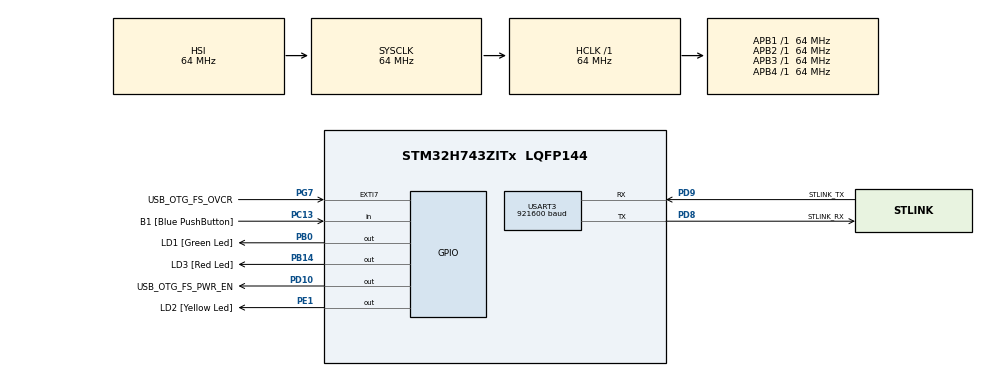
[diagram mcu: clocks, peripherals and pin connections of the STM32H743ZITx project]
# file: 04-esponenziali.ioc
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Mcu.Family=STM32H7
Mcu.Name=STM32H743ZITx
Mcu.Package=LQFP144
NVIC.PriorityGroup=NVIC_PRIORITYGROUP_4
NVIC.TIM6_DAC_IRQn=true\:0\:0\:false\:false\:true\:true\:true\:true
NVIC.USART3_IRQn=true\:0\:0\:false\:false\:true\:true\:true\:true
PB0.GPIO_Label=LD1 [Green Led]
PB0.Signal=GPIO_Output
PB14.GPIO_Label=LD3 [Red Led]
PB14.Signal=GPIO_Output
PC13.GPIO_Label=B1 [Blue PushButton]
PC13.Signal=GPIO_Input
PC14-OSC32_IN\ (OSC32_IN).Mode=LSE-External-Oscillator
PC14-OSC32_IN\ (OSC32_IN).Signal=RCC_OSC32_IN
PC15-OSC32_OUT\ (OSC32_OUT).Mode=LSE-External-Oscillator
PC15-OSC32_OUT\ (OSC32_OUT).Signal=RCC_OSC32_OUT
PD10.GPIO_Label=USB_OTG_FS_PWR_EN
PD10.Signal=GPIO_Output
PD8.GPIO_Label=STLINK_RX
PD8.Mode=Asynchronous
PD8.Signal=USART3_TX
PD9.GPIO_Label=STLINK_TX
PD9.Mode=Asynchronous
PD9.Signal=USART3_RX
PE1.GPIO_Label=LD2 [Yellow Led]
PE1.Signal=GPIO_Output
PG7.GPIO_Label=USB_OTG_FS_OVCR
PG7.Signal=GPXTI7
PH0-OSC_IN\ (PH0).Mode=HSE-External-Clock-Source
PH0-OSC_IN\ (PH0).Signal=RCC_OSC_IN
ProjectManager.HeapSize=0x200
ProjectManager.StackSize=0x400
ProjectManager.TargetToolchain=STM32CubeIDE
RCC.ADCFreq_Value=16125000
RCC.APB1Freq_Value=64000000
RCC.APB2Freq_Value=64000000
RCC.APB3Freq_Value=64000000
RCC.APB4Freq_Value=64000000
RCC.CortexFreq_Value=64000000
RCC.DIVM1=1
RCC.DIVN1=24
RCC.DIVQ1=4
RCC.HCLKFreq_Value=64000000
RCC.HSE_VALUE=8000000
RCC.PLLFRACN=0
RCC.PLLSourceVirtual=RCC_PLLSOURCE_HSE
RCC.PWR_Regulator_Voltage_Scale=PWR_REGULATOR_VOLTAGE_SCALE2
RCC.SYSCLKFreq_VALUE=64000000
RCC.USBFreq_Value=48000000
USART3.BaudRate=921600
USART3.VirtualMode-Asynchronous=VM_ASYNC
VP_MEMORYMAP_VS_MEMORYMAP.Mode=CurAppReg
VP_TIM6_VS_ClockSourceINT.Mode=Enable_Timer
board=NUCLEO-H743ZI2

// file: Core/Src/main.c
/* USER CODE BEGIN Header */
/**
 ******************************************************************************
 * @file           : main.c
 * @brief          : Main program body
 ******************************************************************************
 * @attention
 *
 * Copyright (c) 2024 STMicroelectronics.
 * All rights reserved.
 *
 * This software is licensed under terms that can be found in the LICENSE file
 * in the root directory of this software component.
 * If no LICENSE file comes with this software, it is provided AS-IS.
 *
 ******************************************************************************
 */
/* USER CODE END Header */
#include "main.h"

/* USER CODE BEGIN Includes */
#include "lz_serial.h"
#include "lz_uart.h"
/* USER CODE END Includes */

/* USER CODE BEGIN PD */
#define MAX_NUM_ELEMENTS   1024
/* USER CODE END PD */

TIM_HandleTypeDef htim6;

UART_HandleTypeDef huart3;

void SystemClock_Config(void);
static void MX_GPIO_Init(void);
static void MX_USART3_UART_Init(void);
static void MX_TIM6_Init(void);

/* USER CODE BEGIN 0 */
static enum {
	LZ_IDLE, LZ_RNG, LZ_RUN
} gState = LZ_IDLE;

uint8_t __lz_serial_new_character_read(char c) {
	if (gState != LZ_IDLE)
		return 0;

	switch (c) {
	case 'r':
		gState = LZ_RUN;
		return 1;
	case 's':
		gState = LZ_RNG;
		return 1;
	}

	return 0;
}

void __lz_serial_error_tx_buffer_full(void) {
	GPIOE->BSRR = GPIO_BSRR_BS1;
}

void __lz_serial_error_rx_buffer_full(void) {
	GPIOB->BSRR = GPIO_BSRR_BS14;

	Error_Handler();
}
/* USER CODE END 0 */

int main(void)
{

  /* MCU Configuration--------------------------------------------------------*/

  /* Reset of all peripherals, Initializes the Flash interface and the Systick. */
  HAL_Init();

  /* Configure the system clock */
  SystemClock_Config();

  /* Initialize all configured peripherals */
  MX_GPIO_Init();
  MX_USART3_UART_Init();
  MX_TIM6_Init();
  /* USER CODE BEGIN 2 */
	lz_uart_setup();

	uint16_t exp1[MAX_NUM_ELEMENTS];
	uint16_t exp2[MAX_NUM_ELEMENTS];
	uint16_t res[MAX_NUM_ELEMENTS];

	uint32_t numOfElements = 0;
	uint32_t i = 0;
	uint16_t exp1_dt = 0;
	uint16_t exp2_dt = 0;
  /* USER CODE END 2 */

  /* Infinite loop */
	while (1) {

    /* USER CODE BEGIN 3 */

		// Macchina a stati solo per scopo educativo
		switch (gState)
		{
		case LZ_RNG:
			lz_serial_read(&numOfElements, sizeof(numOfElements));

			{
				float tau1, tau2;
				lz_serial_read(&tau1, sizeof(tau1));
				lz_serial_read(&tau2, sizeof(tau2));
				exp1_dt = (uint16_t)((exp(-1.0/tau1))*(1<<10));
				exp2_dt = (uint16_t)((exp(-1.0/tau2))*(1<<10));
			}

			lz_serial_read(exp1, sizeof(exp1[0]));
			lz_serial_read(exp2, sizeof(exp2[0]));

			i = 0;
			if (numOfElements > MAX_NUM_ELEMENTS)
				numOfElements = MAX_NUM_ELEMENTS;

			gState = LZ_IDLE;
			break;

		case LZ_RUN:
			if (i >= numOfElements)
			{
				i = 0;
				gState = LZ_IDLE;
				break;
			}

			if (i > 0)
			{
				exp1[i] = (uint16_t) (((uint32_t) exp1[i - 1] * (uint32_t) exp1_dt ) >> 10);
				exp2[i] = (uint16_t) (((uint32_t) exp2[i - 1] * (uint32_t) exp2_dt ) >> 10);
			}

			res[i] = exp1[i] - exp2[i];

			lz_serial_send_binary(res + i, sizeof(res[0]));
			i++;

			break;

		default:
		}
	}
  /* USER CODE END 3 */
}

void SystemClock_Config(void)
{
  RCC_OscInitTypeDef RCC_OscInitStruct = {0};
  RCC_ClkInitTypeDef RCC_ClkInitStruct = {0};

  /** Supply configuration update enable
  */
  HAL_PWREx_ConfigSupply(PWR_LDO_SUPPLY);

  /** Configure the main internal regulator output voltage
  */
  __HAL_PWR_VOLTAGESCALING_CONFIG(PWR_REGULATOR_VOLTAGE_SCALE2);

  while(!__HAL_PWR_GET_FLAG(PWR_FLAG_VOSRDY)) {}

  /** Initializes the RCC Oscillators according to the specified parameters
  * in the RCC_OscInitTypeDef structure.
  */
  RCC_OscInitStruct.OscillatorType = RCC_OSCILLATORTYPE_HSI;
  RCC_OscInitStruct.HSIState = RCC_HSI_DIV1;
  RCC_OscInitStruct.HSICalibrationValue = RCC_HSICALIBRATION_DEFAULT;
  RCC_OscInitStruct.PLL.PLLState = RCC_PLL_NONE;
  if (HAL_RCC_OscConfig(&RCC_OscInitStruct) != HAL_OK)
  {
    Error_Handler();
  }

  /** Initializes the CPU, AHB and APB buses clocks
  */
  RCC_ClkInitStruct.ClockType = RCC_CLOCKTYPE_HCLK|RCC_CLOCKTYPE_SYSCLK
                              |RCC_CLOCKTYPE_PCLK1|RCC_CLOCKTYPE_PCLK2
                              |RCC_CLOCKTYPE_D3PCLK1|RCC_CLOCKTYPE_D1PCLK1;
  RCC_ClkInitStruct.SYSCLKSource = RCC_SYSCLKSOURCE_HSI;
  RCC_ClkInitStruct.SYSCLKDivider = RCC_SYSCLK_DIV1;
  RCC_ClkInitStruct.AHBCLKDivider = RCC_HCLK_DIV1;
  RCC_ClkInitStruct.APB3CLKDivider = RCC_APB3_DIV1;
  RCC_ClkInitStruct.APB1CLKDivider = RCC_APB1_DIV1;
  RCC_ClkInitStruct.APB2CLKDivider = RCC_APB2_DIV1;
  RCC_ClkInitStruct.APB4CLKDivider = RCC_APB4_DIV1;

  if (HAL_RCC_ClockConfig(&RCC_ClkInitStruct, FLASH_LATENCY_1) != HAL_OK)
  {
    Error_Handler();
  }
}

static void MX_TIM6_Init(void)
{

  TIM_MasterConfigTypeDef sMasterConfig = {0};

  htim6.Instance = TIM6;
  htim6.Init.Prescaler = 0;
  htim6.Init.CounterMode = TIM_COUNTERMODE_UP;
  htim6.Init.Period = 65535;
  htim6.Init.AutoReloadPreload = TIM_AUTORELOAD_PRELOAD_DISABLE;
  if (HAL_TIM_Base_Init(&htim6) != HAL_OK)
  {
    Error_Handler();
  }
  sMasterConfig.MasterOutputTrigger = TIM_TRGO_RESET;
  sMasterConfig.MasterSlaveMode = TIM_MASTERSLAVEMODE_DISABLE;
  if (HAL_TIMEx_MasterConfigSynchronization(&htim6, &sMasterConfig) != HAL_OK)
  {
    Error_Handler();
  }

}

static void MX_USART3_UART_Init(void)
{

  huart3.Instance = USART3;
  huart3.Init.BaudRate = 921600;
  huart3.Init.WordLength = UART_WORDLENGTH_8B;
  huart3.Init.StopBits = UART_STOPBITS_1;
  huart3.Init.Parity = UART_PARITY_NONE;
  huart3.Init.Mode = UART_MODE_TX_RX;
  huart3.Init.HwFlowCtl = UART_HWCONTROL_NONE;
  huart3.Init.OverSampling = UART_OVERSAMPLING_16;
  huart3.Init.OneBitSampling = UART_ONE_BIT_SAMPLE_DISABLE;
  huart3.Init.ClockPrescaler = UART_PRESCALER_DIV1;
  huart3.AdvancedInit.AdvFeatureInit = UART_ADVFEATURE_NO_INIT;
  if (HAL_UART_Init(&huart3) != HAL_OK)
  {
    Error_Handler();
  }
  if (HAL_UARTEx_SetTxFifoThreshold(&huart3, UART_TXFIFO_THRESHOLD_1_8) != HAL_OK)
  {
    Error_Handler();
  }
  if (HAL_UARTEx_SetRxFifoThreshold(&huart3, UART_RXFIFO_THRESHOLD_1_8) != HAL_OK)
  {
    Error_Handler();
  }
  if (HAL_UARTEx_DisableFifoMode(&huart3) != HAL_OK)
  {
    Error_Handler();
  }

}

static void MX_GPIO_Init(void)
{
  GPIO_InitTypeDef GPIO_InitStruct = {0};

  /* GPIO Ports Clock Enable */
  __HAL_RCC_GPIOC_CLK_ENABLE();
  __HAL_RCC_GPIOH_CLK_ENABLE();
  __HAL_RCC_GPIOB_CLK_ENABLE();
  __HAL_RCC_GPIOD_CLK_ENABLE();
  __HAL_RCC_GPIOG_CLK_ENABLE();
  __HAL_RCC_GPIOE_CLK_ENABLE();

  /*Configure GPIO pin Output Level */
  HAL_GPIO_WritePin(GPIOB, LD1_Pin|LD3_Pin, GPIO_PIN_RESET);

  /*Configure GPIO pin Output Level */
  HAL_GPIO_WritePin(USB_OTG_FS_PWR_EN_GPIO_Port, USB_OTG_FS_PWR_EN_Pin, GPIO_PIN_RESET);

  /*Configure GPIO pin Output Level */
  HAL_GPIO_WritePin(LD2_GPIO_Port, LD2_Pin, GPIO_PIN_RESET);

  /*Configure GPIO pin : B1_Pin */
  GPIO_InitStruct.Pin = B1_Pin;
  GPIO_InitStruct.Mode = GPIO_MODE_INPUT;
  GPIO_InitStruct.Pull = GPIO_NOPULL;
  HAL_GPIO_Init(B1_GPIO_Port, &GPIO_InitStruct);

  /*Configure GPIO pins : LD1_Pin LD3_Pin */
  GPIO_InitStruct.Pin = LD1_Pin|LD3_Pin;
  GPIO_InitStruct.Mode = GPIO_MODE_OUTPUT_PP;
  GPIO_InitStruct.Pull = GPIO_NOPULL;
  GPIO_InitStruct.Speed = GPIO_SPEED_FREQ_LOW;
  HAL_GPIO_Init(GPIOB, &GPIO_InitStruct);

  /*Configure GPIO pin : USB_OTG_FS_PWR_EN_Pin */
  GPIO_InitStruct.Pin = USB_OTG_FS_PWR_EN_Pin;
  GPIO_InitStruct.Mode = GPIO_MODE_OUTPUT_PP;
  GPIO_InitStruct.Pull = GPIO_NOPULL;
  GPIO_InitStruct.Speed = GPIO_SPEED_FREQ_LOW;
  HAL_GPIO_Init(USB_OTG_FS_PWR_EN_GPIO_Port, &GPIO_InitStruct);

  /*Configure GPIO pin : USB_OTG_FS_OVCR_Pin */
  GPIO_InitStruct.Pin = USB_OTG_FS_OVCR_Pin;
  GPIO_InitStruct.Mode = GPIO_MODE_IT_RISING;
  GPIO_InitStruct.Pull = GPIO_NOPULL;
  HAL_GPIO_Init(USB_OTG_FS_OVCR_GPIO_Port, &GPIO_InitStruct);

  /*Configure GPIO pin : LD2_Pin */
  GPIO_InitStruct.Pin = LD2_Pin;
  GPIO_InitStruct.Mode = GPIO_MODE_OUTPUT_PP;
  GPIO_InitStruct.Pull = GPIO_NOPULL;
  GPIO_InitStruct.Speed = GPIO_SPEED_FREQ_LOW;
  HAL_GPIO_Init(LD2_GPIO_Port, &GPIO_InitStruct);

}

void Error_Handler(void)
{
	__disable_irq();
	while (1) {
	}
}
